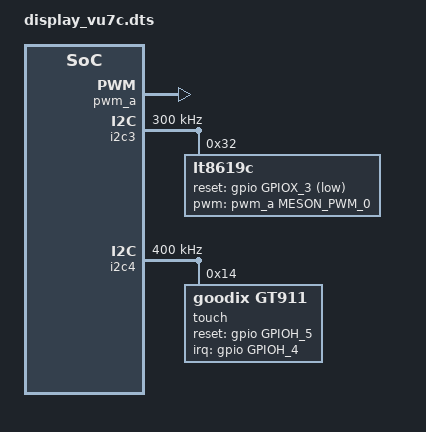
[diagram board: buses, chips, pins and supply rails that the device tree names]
/*
 * arch/arm64/boot/dts/amlogic/overlays/odroidc4/display_vu7c.dts
 *
 * Copyright (C) 2022 Hardkernel, Inc. All rights reserved.
 *
 * This program is free software; you can redistribute it and/or modify
 * it under the terms of the GNU General Public License as published by
 * the Free Software Foundation; either version 2 of the License, or
 * (at your option) any later version.
 *
 * This program is distributed in the hope that it will be useful, but WITHOUT
 * ANY WARRANTY; without even the implied warranty of MERCHANTABILITY or
 * FITNESS FOR A PARTICULAR PURPOSE.  See the GNU General Public License for
 * more details.
 *
 */

/dts-v1/;
/plugin/;

#include <dt-bindings/gpio/meson-s7d-gpio.h>
#include <dt-bindings/gpio/gpio.h>

#include <dt-bindings/pwm/meson.h>
#include <dt-bindings/pwm/pwm.h>

#include <dt-bindings/interrupt-controller/irq.h>

/{
	fragment@0 {
		target = <&pwm_a>;
		__overlay__ {
			status = "okay";
			pinctrl-names = "default";
			pinctrl-0 = <&pwm_a_gpio_x6>;
		};
	};
	fragment@1 {
		target = <&i2c3>;
		__overlay__ {
			status = "okay";
			pinctrl-names = "default";
			pinctrl-0 = <&i2c3_pins1>;
			clock-frequency = <300000>; /* default 100k */
			#address-cells = <1>;
			#size-cells = <0>;

			lt8619c: hdmi-bridge@32 {
				compatible = "lt8619c";
				reg = <0x32>;
				reset-gpios = <&gpio GPIOX_3 GPIO_ACTIVE_LOW>;
				pwms = <&pwm_a MESON_PWM_0 40000 0>;
				default-brightness-level = <100>;
			};
		};
	};
	fragment@2 {
		target = <&i2c4>;
		__overlay__ {
			status = "okay";
			pinctrl-names = "default";
			pinctrl-0 = <&i2c4_pins2>;
			clock-frequency = <400000>; /* default 400k */
			#address-cells = <1>;
			#size-cells = <0>;

			touch: gt9xx@14 {
				compatible = "goodix,gt911";
				status = "okay";
				reg = <0x14>;
				interrupt-parent = <&gpio_intc>;
				interrupts = <33 IRQ_TYPE_EDGE_FALLING>;
				reset-gpios = <&gpio GPIOH_5 GPIO_ACTIVE_HIGH>;
				irq-gpios = <&gpio GPIOH_4 0>;
			};
		};
	};
};
